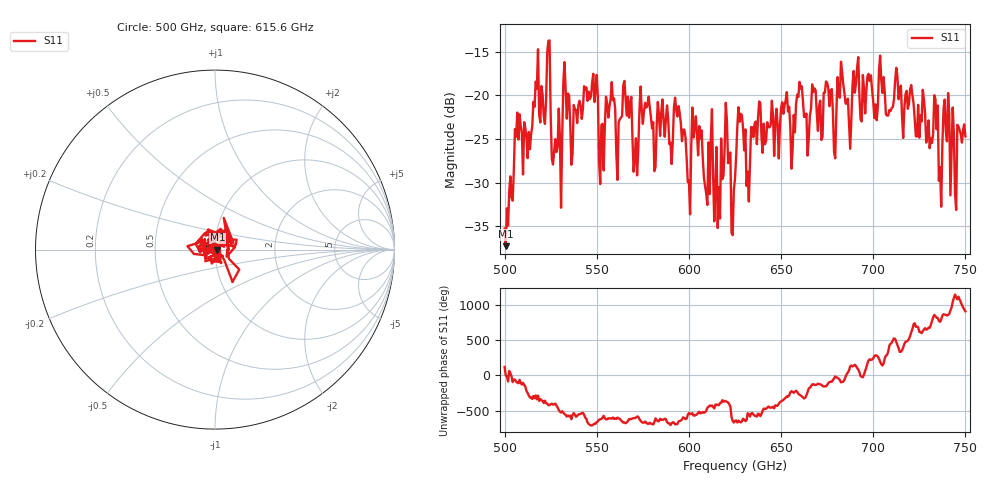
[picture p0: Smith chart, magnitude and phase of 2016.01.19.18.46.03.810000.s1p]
!Created with skrf (http://scikit-rf.org).
# GHz S RI R 50.0
!freq ReS11 ImS11
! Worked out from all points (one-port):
!   401 points, 500 GHz to 750 GHz, reference 50 ohm
!   lowest |S11| = -37.3 dB at 500.6 GHz (marker M1), VSWR 1.03, Z = 51.4 - j0.0605 ohm
!   |S11| at or under -10 dB: start of sweep to end of sweep
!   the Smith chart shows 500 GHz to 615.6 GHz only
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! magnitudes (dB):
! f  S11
! 500 GHz  -35.2
! 500.6 GHz  -37.3
! 506.9 GHz  -22.0
! 513.8 GHz  -26.2
! 516.9 GHz  -18.4
! 523.8 GHz  -13.8
! 526.9 GHz  -26.5
! 531.2 GHz  -24.7
! 548.8 GHz  -20.8
! 552.5 GHz  -23.4
! 558.1 GHz  -18.5
! 562.5 GHz  -22.7
! 593.8 GHz  -22.4
! 600 GHz  -29.7
! 603.1 GHz  -23.7
! 608.8 GHz  -30.4
! 620.6 GHz  -23.0
! 625 GHz  -29.6
! 627.5 GHz  -23.0
! 631.9 GHz  -28.7
! 637.5 GHz  -22.6
! 656.2 GHz  -26.2
! 660 GHz  -18.5
! 687.5 GHz  -26.1
! 718.8 GHz  -21.6
! 736.9 GHz  -32.7
! 739.4 GHz  -24.1
! 750 GHz  -24.7
